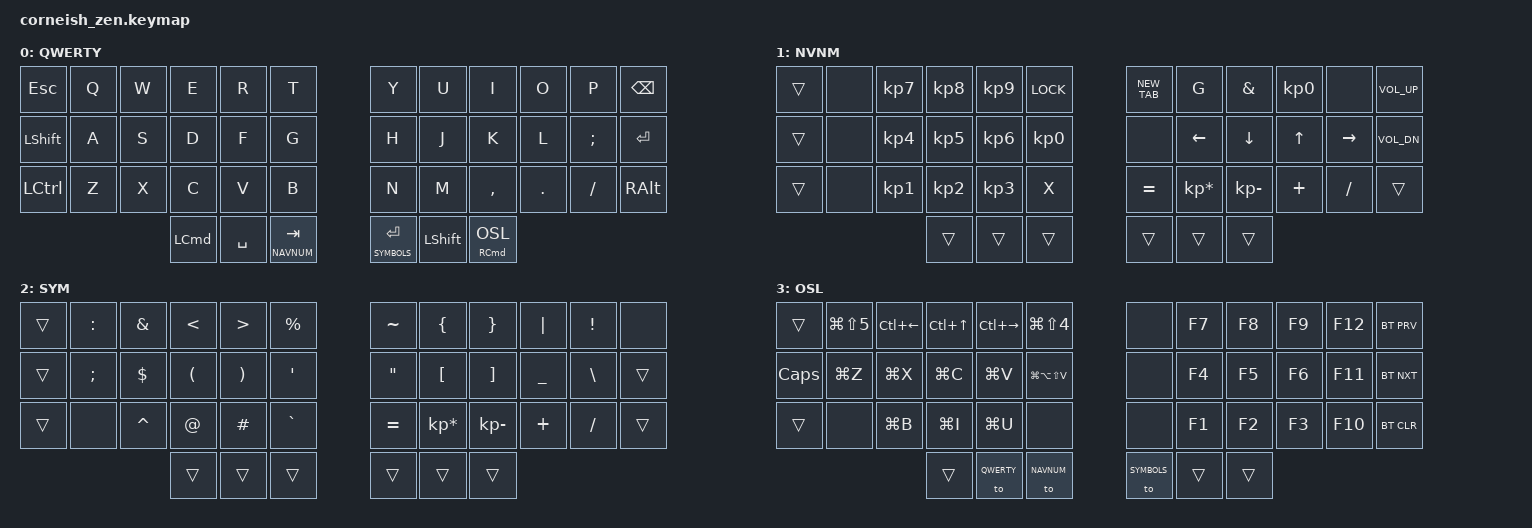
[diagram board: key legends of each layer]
#include <behaviors.dtsi>
#include <dt-bindings/zmk/keys.h>
#include <dt-bindings/zmk/bt.h>

#define QWERTY  0
#define NAVNUM  1
#define SYMBOLS 2
#define OSL     3

/ {
    chosen {
        zmk,physical-layout = &foostan_corne_6col_layout;
        // zmk,physical-layout = &foostan_corne_5col_layout;
    };
};

/ {
    behaviors
    {
            HTSL: holdtap_stickylayer
            {
                compatible = "zmk,behavior-hold-tap";
                label = "HTSL";
                #binding-cells = <2>;
                tapping-term-ms = <200>;
                quick-tap-ms = <0>;
                flavor = "hold-preferred";
                bindings = <&kp>, <&sl>;
            };
    };
    macros
    {
        LOCK: LOCK
        {
            label = "LOCK";
            compatible = "zmk,behavior-macro";
            #binding-cells = <0>;
            bindings
                = <&macro_press   &kp LCMD>
                , <&macro_press   &kp LCTRL>
                , <&macro_tap     &kp Q>
                , <&macro_release &kp LCTRL>
                , <&macro_release &kp LCMD>
                ;
        };
        NEW_TAB: NEW_TAB {
            label = "NEW_TAB";
            compatible = "zmk,behavior-macro";
            #binding-cells = <0>;
            bindings
                = <&macro_press   &kp LCMD>
                , <&macro_tap     &kp T>
                , <&macro_release &kp LCMD>
                ;
        };
    };
};
/ {
    keymap {
        compatible = "zmk,keymap";

        default_layer {
            display-name = "QWERTY";
// --------------------------------------------------------------------------------
// | ESC  |  Q  |  W  |  E  |  R  |  T  |   |  Y  |  U   |  I   |  O  |  P  | BSPC |
// | SHFT |  A  |  S  |  D  |  F  |  G  |   |  H  |  J   |  K   |  L  |  ;  |  '   |
// | CTRL |  Z  |  X  |  C  |  V  |  B  |   |  N  |  M   |  ,   |  .  |  /  | ESC  |
//                  |    CMD | SPC | lt |   | lt  | BSPC | htsl |
            bindings = <
   &kp ESC    &kp Q &kp W &kp E &kp R &kp T               &kp Y &kp U  &kp I     &kp O    &kp P         &kp BSPC
   &kp LSHIFT &kp A &kp S &kp D &kp F &kp G               &kp H &kp J  &kp K     &kp L    &kp SEMI      &kp ENTER
   &kp LCTRL  &kp Z &kp X &kp C &kp V &kp B               &kp N &kp M  &kp COMMA &kp DOT  &kp FSLH      &kp RALT

           &kp LCMD  &kp SPC  &lt NAVNUM TAB              &lt SYMBOLS ENTER      &kp LSHIFT  &HTSL RCMD OSL
            >;
        };
        navnum_layer {
            label = "NVNM";
            bindings = <
   &trans  &none &kp KP_N7 &kp KP_N8 &kp KP_N9 &LOCK             &NEW_TAB    &kp G           &kp AMPERSAND &kp KP_N0  &none     &kp C_VOL_UP
   &trans  &none &kp KP_N4 &kp KP_N5 &kp KP_N6 &kp KP_N0         &none       &kp LEFT        &kp DOWN     &kp UP     &kp RIGHT &kp C_VOL_DN
   &trans  &none &kp KP_N1 &kp KP_N2 &kp KP_N3 &kp X             &kp EQUAL   &kp KP_ASTERISK &kp KP_MINUS &kp PLUS   &kp SLASH &trans

                                   &trans &trans &trans          &trans &trans &trans
                        >;
                };

    	symbols_layer {
            label = "SYM";
            bindings = < 
   &trans     &kp COLON &kp AMPS   &kp LT   &kp GT   &kp PRCNT     &kp TILDE  &kp LBRC        &kp RBRC     &kp PIPE  &kp EXCL  &none
   &trans     &kp SEMI  &kp DOLLAR &kp LPAR &kp RPAR &kp SQT       &kp DQT    &kp LBKT        &kp RBKT     &kp UNDER &kp BSLH  &trans
   &trans     &none     &kp CARET  &kp AT   &kp HASH &kp GRAVE     &kp EQUAL  &kp KP_ASTERISK &kp KP_MINUS &kp PLUS  &kp SLASH &trans

                                   &trans   &trans   &trans        &trans  &trans  &trans
                        >;
                };
     	osl_layer {
            label = "OSL";
            bindings = < 
   &trans   &kp LG(LS(N5))  &kp LC(LEFT)    &kp LC(UP)  &kp LC(RIGHT)   &kp LG(LS(N4))      &none   &kp F7  &kp F8  &kp F9  &kp F12 &bt BT_PRV
   &kp CAPS &kp LG(Z)       &kp LG(X)       &kp LG(C)   &kp LG(V)       &kp LG(LA(LS(V)))   &none   &kp F4  &kp F5  &kp F6  &kp F11 &bt BT_NXT
   &trans   &none           &kp LG(B)       &kp LG(I)   &kp LG(U)       &none               &none   &kp F1  &kp F2  &kp F3  &kp F10 &bt BT_CLR

                                            &trans      &to QWERTY     &to NAVNUM          &to SYMBOLS  &trans  &trans
                    >;
                };
		};
};
